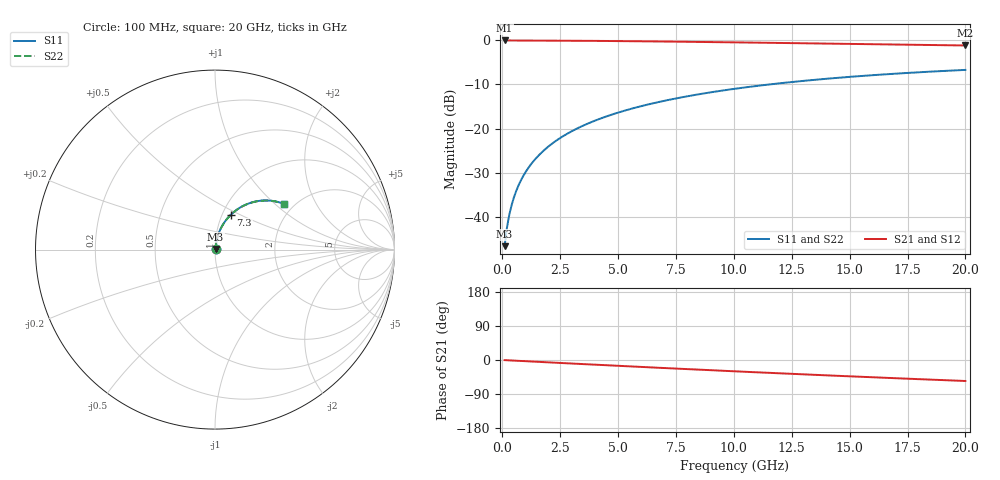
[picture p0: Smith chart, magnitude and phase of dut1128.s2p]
! Touchstone file exported from HFSS 2026.1.0
!  File:  C:/ffzhzh/LocalFiles/Ansys_Project_Files/temp_train_TMRDL_1128_1783161715_51560.aedt
!  Generated:  06:43:20 PM Jul  4, 2026
!  Design:  TMRDL
!  Project:  temp_train_TMRDL_1128_1783161715_51560
! Variables:
!  h_bsmrdl = 2um
!  h_ox = 20um
!  h_rdl = 5um
!  h_sub = 80um
!  h_tmrdl = 4.62um
!  h_tsv = 80um
!  h_via = 3um
!  l_bsmrdl = 300um
!  l_sub = 1261um
!  l_tmrdl = 861um
!  m_sub = 200um
!  pitch = 50.87um
!  r_tsv = 6um
!  s_tmrdl = 10um
!  w_bsmrdl = 18um
!  w_sub = 500um
!  w_tmrdl = 22.25um
!  x_tsv_center1 = 872.125um
!  x_tsv_center2 = 1190.125um
!  x_tsv_center3 = 2073.375um
!  x_tsv_center4 = 2391.375um
!  x_tsv_center5 = 3274.625um
!  x_tsv_center6 = 3592.625um
# GHz S MA R 50.000000
! Terminal data exported
! Port[1] = TM_RDL1_1_T1
! Port[2] = TM_RDL1_1_T2
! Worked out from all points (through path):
!   200 points, 100 MHz to 20 GHz, reference 50 ohm
!   highest |S21| = -0.03 dB at 100 MHz (marker M1); lowest = -1.2 dB at 20 GHz (marker M2)
!   group delay of S21, straight-line fit = 7.69 ps
!   lowest |S11| = -46.7 dB at 100 MHz (marker M3), VSWR 1.01, Z = 50.3 + j0.343 ohm
!   |S11| at or under -10 dB: start of sweep to 11.53 GHz
!   |S22| runs from -46.7 to -6.7 dB; largest |S21 - S12| = 9e-15
!   S11 on the Smith chart (normalised r, x): 100 MHz: 1.01, +0.01; 7.3 GHz: 1.10, +0.45; 20 GHz: 1.79, +1.15
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0.1  0.00465 47.2  0.9969 -0.3  0.9969 -0.3  0.00465 47.2
! Gamma 0 0 0 0
! Port Impedance 50 0 50 0
0.2  0.007496 62.9  0.9966 -0.6  0.9966 -0.6  0.007496 62.9
0.3  0.01049 69.5  0.9964 -1.0  0.9964 -1.0  0.01049 69.5
0.4  0.01351 73.1  0.9963 -1.3  0.9963 -1.3  0.01351 73.1
0.5  0.01655 75.4  0.9961 -1.6  0.9961 -1.6  0.01655 75.4
0.6  0.01961 76.9  0.996 -1.9  0.996 -1.9  0.01961 76.9
0.8  0.02577 78.7  0.9958 -2.5  0.9958 -2.5  0.02577 78.7
1.1  0.03507 79.9  0.9953 -3.5  0.9953 -3.5  0.03507 79.9
1.5  0.04748 80.1  0.9946 -4.7  0.9946 -4.7  0.04748 80.1
1.8  0.05676 79.8  0.9939 -5.6  0.9939 -5.6  0.05676 79.8
2.1  0.06599 79.3  0.9931 -6.6  0.9931 -6.6  0.06599 79.3
2.7  0.08428 78.0  0.9912 -8.4  0.9912 -8.4  0.08428 78.0
3.5  0.1082 76.0  0.9881 -10.8  0.9881 -10.8  0.1082 76.0
4.2  0.1288 74.1  0.985 -13.0  0.985 -13.0  0.1288 74.1
5  0.1517 71.9  0.981 -15.4  0.981 -15.4  0.1517 71.8
6.8  0.2012 66.9  0.9707 -20.6  0.9707 -20.6  0.2012 66.8
7.3  0.2144 65.5  0.9676 -22.1  0.9676 -22.1  0.2144 65.4
8.6  0.2477 61.9  0.959 -25.8  0.959 -25.8  0.2477 61.9
10.1  0.2839 57.9  0.9483 -30.0  0.9483 -30.0  0.2839 57.8
13.4  0.3552 49.3  0.9233 -38.9  0.9233 -38.9  0.3552 49.2
16.7  0.4146 41.0  0.898 -47.4  0.898 -47.4  0.4146 41.0
20  0.4624 33.2  0.8744 -55.4  0.8744 -55.4  0.4624 33.1
